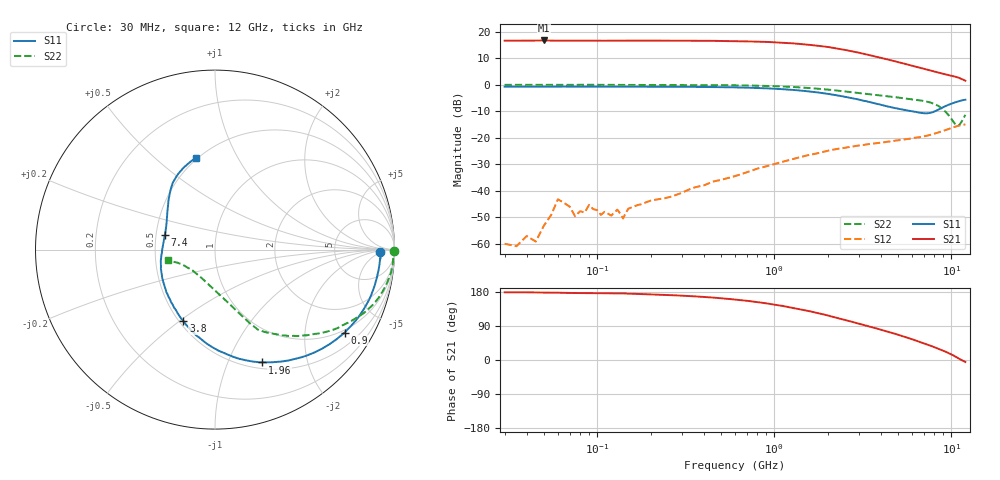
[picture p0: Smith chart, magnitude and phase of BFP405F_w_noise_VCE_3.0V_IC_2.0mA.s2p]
! (c) 2015  Infineon Technologies AG, Munich
! Infineon Technologies  Discrete & RF Semiconductors
! BFP405F
! VCE =  3.0 V,  IC =  2.0 mA
! Common Emitter S-Parameters:  Nov 2015
# GHz  S  MA  R  50
!  f  S11  S21  S12  S22
! GHz  MAG  ANG  MAG  ANG  MAG  ANG  MAG  ANG
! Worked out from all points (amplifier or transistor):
!   239 points, 30 MHz to 12 GHz, reference 50 ohm
!   highest |S21| = 16.7 dB at 50 MHz (marker M1)
!   |S21| within 3 dB of that: start of sweep to 2.245 GHz
!   unconditionally stable (mu >= 1): 44.88 MHz to 45.2 MHz; 4.021 GHz to end of sweep
!   at 300 MHz: K = 0.02, MSG = 28.7 dB, |S12| = -40.8 dB
!   at 1.88 GHz: K = 0.37, MSG = 19.9 dB, |S12| = -25.4 dB
!   at 12 GHz: K = 1.67, MAG = 3.4 dB, |S12| = -14.9 dB
!   lowest NFmin = 1.01 dB at 450 MHz
!   S11 on the Smith chart (normalised r, x): 30 MHz: 24, -5; 900 MHz: 0.91, -3.18; 1.96 GHz: 0.57, -1.34; 3.8 GHz: 0.53, -0.52; 7.4 GHz: 0.56, +0.10; 12 GHz: 0.49, +0.69
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0.03  0.9221 -1.0  6.778 178.5  0.001 -9.9  0.9966 -0.6
0.045  0.9198 -1.7  6.818 178.1  0.0011 -1.8  0.9951 -0.8
0.05  0.9201 -2.1  6.852 177.8  0.0022 -39.4  0.9949 -0.9
0.06  0.9254 -2.2  6.776 177.6  0.0069 58.8  0.9968 -0.6
0.075  0.9216 -2.8  6.78 176.8  0.0033 109.0  0.9969 -1.3
0.085  0.9224 -3.0  6.777 176.7  0.0039 116.0  0.9991 -1.5
0.09  0.9238 -3.0  6.793 176.8  0.0054 85.8  0.9986 -1.8
0.14  0.9202 -5.2  6.806 175.6  0.003 70.3  0.9957 -2.5
0.15  0.92 -5.5  6.81 175.3  0.0046 87.5  0.994 -2.7
0.24  0.9165 -8.7  6.782 171.9  0.0072 90.5  0.9938 -4.4
0.36  0.9112 -13.2  6.753 167.8  0.0117 84.2  0.99 -6.6
0.6  0.8928 -21.9  6.638 159.5  0.0189 79.5  0.976 -11.0
0.9  0.8575 -32.6  6.443 149.5  0.0289 75.6  0.9516 -16.2
1.22  0.8086 -43.6  6.101 139.3  0.0381 70.3  0.9144 -21.4
1.64  0.7368 -57.2  5.589 127.1  0.0485 63.9  0.8584 -27.5
1.96  0.6817 -67.2  5.214 118.6  0.0559 59.4  0.8162 -31.9
2.68  0.5676 -87.2  4.353 102.1  0.0674 51.4  0.7287 -40.1
3.8  0.4351 -113.8  3.355 82.9  0.0792 43.7  0.6388 -48.8
4.5  0.382 -129.8  2.923 73.2  0.085 41.5  0.5991 -52.6
7.4  0.2909 163.8  1.893 39.8  0.1106 37.2  0.473 -63.6
10.8  0.4792 113.2  1.383 6.2  0.1659 27.1  0.1697 -125.4
12  0.5215 101.7  1.191 -5.1  0.1789 22.0  0.2703 -167.1
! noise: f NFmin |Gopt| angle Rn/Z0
0.45  1.01  0.58  7  0.45
0.9  1.03  0.54  15  0.46
1.5  1.15  0.52  21  0.41
1.9  1.2  0.49  29  0.4
2.4  1.39  0.46  38  0.41
3  1.47  0.43  49  0.39
3.5  1.53  0.42  59  0.36
4.5  1.72  0.35  76  0.3
5.5  1.97  0.23  93  0.22
